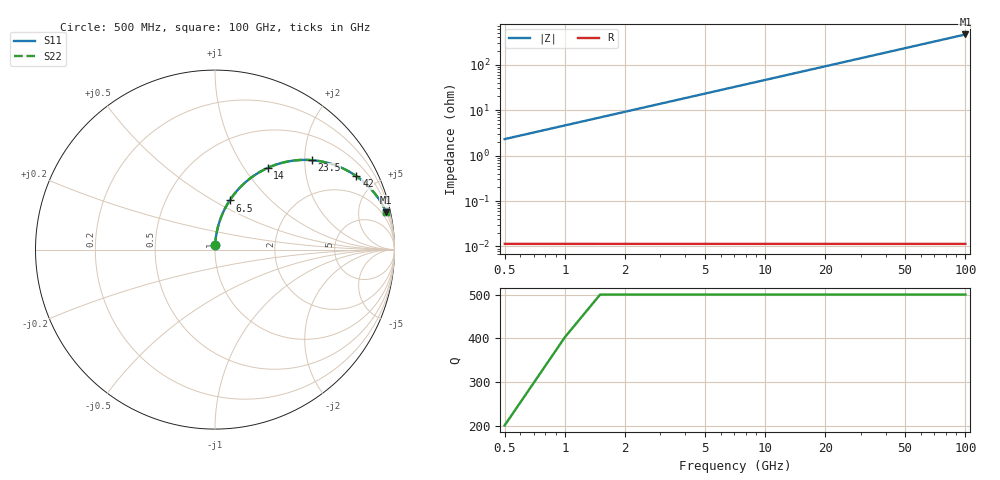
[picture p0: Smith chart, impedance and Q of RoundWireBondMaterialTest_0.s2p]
! File created by SignalIntegrity v1.4.3: Signal and Power Integrity Tools
! https://github.com/Nubis-Communications/SignalIntegrity
! the calculations of this model are from:
! https://www.allaboutcircuits.com/tools/wire-self-inductance-calculator/
# MHz S MA R 50.0
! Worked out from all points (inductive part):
!   200 points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, 500 MHz to 100 GHz, reference 50 ohm
!   read as one part in series: L = 731 pH near 1 GHz
!   highest |Z| = 460 ohm at 100 GHz (marker M1)
!   S11 on the Smith chart (normalised r, x): 500 MHz: 1.00, +0.05; 6.5 GHz: 1.00, +0.60; 14 GHz: 1.00, +1.29; 23.5 GHz: 1.00, +2.16; 42 GHz: 1.00, +3.86; 100 GHz: 1.00, +9.19
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500  0.02297 88.4  0.9996 -1.3  0.9996 -1.3  0.02297 88.4
1000  0.0459 87.2  0.9988 -2.6  0.9988 -2.6  0.0459 87.2
1500  0.06876 86.0  0.9975 -3.9  0.9975 -3.9  0.06876 86.0
2000  0.09151 84.7  0.9957 -5.3  0.9957 -5.3  0.09151 84.7
2500  0.1141 83.4  0.9934 -6.6  0.9934 -6.6  0.1141 83.4
3000  0.1366 82.1  0.9905 -7.8  0.9905 -7.8  0.1366 82.1
4000  0.1808 79.6  0.9834 -10.4  0.9834 -10.4  0.1808 79.6
5000  0.2239 77.0  0.9745 -12.9  0.9745 -12.9  0.2239 77.0
6500  0.2862 73.3  0.9581 -16.6  0.9581 -16.6  0.2862 73.3
8000  0.345 69.8  0.9385 -20.2  0.9385 -20.2  0.345 69.8
10000  0.4175 65.3  0.9086 -24.7  0.9086 -24.7  0.4175 65.3
12000  0.4828 61.1  0.8756 -28.9  0.8756 -28.9  0.4828 61.1
14000  0.541 57.2  0.8409 -32.8  0.8409 -32.8  0.541 57.2
17500  0.6266 51.2  0.7792 -38.8  0.7792 -38.8  0.6266 51.2
23500  0.7337 42.8  0.6794 -47.2  0.6794 -47.2  0.7337 42.8
28500  0.7948 37.4  0.6068 -52.6  0.6068 -52.6  0.7948 37.4
34000  0.8422 32.6  0.5391 -57.4  0.5391 -57.4  0.8422 32.6
42000  0.8879 27.4  0.46 -62.6  0.46 -62.6  0.8879 27.4
50500  0.9183 23.3  0.3957 -66.7  0.3957 -66.7  0.9183 23.3
67000  0.9511 18.0  0.3089 -72.0  0.3089 -72.0  0.9511 18.0
83500  0.9677 14.6  0.2522 -75.4  0.2522 -75.4  0.9677 14.6
100000  0.9771 12.3  0.2126 -77.7  0.2126 -77.7  0.9771 12.3
